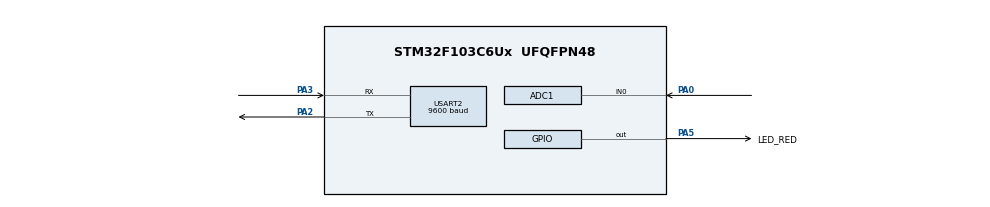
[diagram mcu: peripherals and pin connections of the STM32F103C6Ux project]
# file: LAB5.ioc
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ADC1.Channel-0\#ChannelRegularConversion=ADC_CHANNEL_0
ADC1.ContinuousConvMode=ENABLE
ADC1.NbrOfConversionFlag=1
ADC1.Rank-0\#ChannelRegularConversion=1
ADC1.SamplingTime-0\#ChannelRegularConversion=ADC_SAMPLETIME_1CYCLE_5
ADC1.master=1
Mcu.Family=STM32F1
Mcu.Name=STM32F103C6Ux
Mcu.Package=UFQFPN48
NVIC.PriorityGroup=NVIC_PRIORITYGROUP_4
NVIC.TIM2_IRQn=true\:0\:0\:false\:false\:true\:true\:true\:true
NVIC.USART2_IRQn=true\:0\:0\:false\:false\:true\:true\:true\:true
PA0-WKUP.Signal=ADCx_IN0
PA2.Mode=Asynchronous
PA2.Signal=USART2_TX
PA3.Mode=Asynchronous
PA3.Signal=USART2_RX
PA5.GPIO_Label=LED_RED
PA5.Signal=GPIO_Output
ProjectManager.HeapSize=0x200
ProjectManager.StackSize=0x400
ProjectManager.TargetToolchain=STM32CubeIDE
RCC.APB1Freq_Value=8000000
RCC.APB2Freq_Value=8000000
SH.ADCx_IN0.0=ADC1_IN0,IN0
TIM2.Period=10
TIM2.Prescaler=7999
USART2.BaudRate=9600
USART2.VirtualMode=VM_ASYNC
VP_TIM2_VS_ClockSourceINT.Mode=Internal
board=custom

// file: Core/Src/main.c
/* USER CODE BEGIN Header */
/**
  ******************************************************************************
  * @file           : main.c
  * @brief          : Main program body
  ******************************************************************************
  * @attention
  *
  * Copyright (c) 2022 STMicroelectronics.
  * All rights reserved.
  *
  * This software is licensed under terms that can be found in the LICENSE file
  * in the root directory of this software component.
  * If no LICENSE file comes with this software, it is provided AS-IS.
  *
  ******************************************************************************
  */
/* USER CODE END Header */
#include "main.h"

/* USER CODE BEGIN Includes */
#include "stdio.h"
#include "string.h"
#include "list.h"
#include "software_timer.h"
#include "global.h"
#include "command_parser_fsm.h"
#include "uart_communication_fsm.h"
/* USER CODE END Includes */

ADC_HandleTypeDef hadc1;

TIM_HandleTypeDef htim2;

UART_HandleTypeDef huart2;

void SystemClock_Config(void);
static void MX_GPIO_Init(void);
static void MX_ADC1_Init(void);
static void MX_USART2_UART_Init(void);
static void MX_TIM2_Init(void);

/* USER CODE BEGIN 0 */
uint8_t c[2];

void HAL_UART_RxCpltCallback ( UART_HandleTypeDef * huart ){
	if(huart -> Instance == USART2 ){
		HAL_UART_Transmit(&huart2 , &temp , 1, 50);
		insert(buffer_list, temp);
		buffer_flag = 1;
		HAL_UART_Receive_IT	(&huart2 , &temp , 1);
	}
}
/* USER CODE END 0 */

int main(void)
{
  /* USER CODE BEGIN 1 */
	buffer_list = (struct list*)malloc(sizeof(struct list));
  /* USER CODE END 1 */

  /* MCU Configuration--------------------------------------------------------*/

  /* Reset of all peripherals, Initializes the Flash interface and the Systick. */
  HAL_Init();

  /* Configure the system clock */
  SystemClock_Config();

  /* Initialize all configured peripherals */
  MX_GPIO_Init();
  MX_ADC1_Init();
  MX_USART2_UART_Init();
  MX_TIM2_Init();
  /* USER CODE BEGIN 2 */
  HAL_TIM_Base_Start_IT(&htim2);
  HAL_UART_Receive_IT(&huart2, &temp, 1);
  /* USER CODE END 2 */

  /* Infinite loop */
  /* USER CODE BEGIN WHILE */
  struct list* tmp = (struct list*)malloc(sizeof(struct list));
  setTimer1(1000);
  while (1)
  {
	  if (timer1_flag == 1) {
		  HAL_GPIO_TogglePin(LED_RED_GPIO_Port, LED_RED_Pin);
		  setTimer1(1000);
	  }
	  if (buffer_flag == 1) {
		  command_parser_fsm(hadc1);
//For debug
//			sprintf(c,"%d ",buffer_list->tail->state);
//			HAL_UART_Transmit(&huart2 , &c , 4, 50);
//			sprintf(c,"%c\r\n",temp);
//			HAL_UART_Transmit(&huart2 , &c , 4, 50);
		  buffer_flag = 0;
	  }
	  uart_communication_fsm(huart2);
    /* USER CODE END WHILE */

  }
}

void SystemClock_Config(void)
{
  RCC_OscInitTypeDef RCC_OscInitStruct = {0};
  RCC_ClkInitTypeDef RCC_ClkInitStruct = {0};
  RCC_PeriphCLKInitTypeDef PeriphClkInit = {0};

  /** Initializes the RCC Oscillators according to the specified parameters
  * in the RCC_OscInitTypeDef structure.
  */
  RCC_OscInitStruct.OscillatorType = RCC_OSCILLATORTYPE_HSI;
  RCC_OscInitStruct.HSIState = RCC_HSI_ON;
  RCC_OscInitStruct.HSICalibrationValue = RCC_HSICALIBRATION_DEFAULT;
  RCC_OscInitStruct.PLL.PLLState = RCC_PLL_NONE;
  if (HAL_RCC_OscConfig(&RCC_OscInitStruct) != HAL_OK)
  {
    Error_Handler();
  }

  /** Initializes the CPU, AHB and APB buses clocks
  */
  RCC_ClkInitStruct.ClockType = RCC_CLOCKTYPE_HCLK|RCC_CLOCKTYPE_SYSCLK
                              |RCC_CLOCKTYPE_PCLK1|RCC_CLOCKTYPE_PCLK2;
  RCC_ClkInitStruct.SYSCLKSource = RCC_SYSCLKSOURCE_HSI;
  RCC_ClkInitStruct.AHBCLKDivider = RCC_SYSCLK_DIV1;
  RCC_ClkInitStruct.APB1CLKDivider = RCC_HCLK_DIV1;
  RCC_ClkInitStruct.APB2CLKDivider = RCC_HCLK_DIV1;

  if (HAL_RCC_ClockConfig(&RCC_ClkInitStruct, FLASH_LATENCY_0) != HAL_OK)
  {
    Error_Handler();
  }
  PeriphClkInit.PeriphClockSelection = RCC_PERIPHCLK_ADC;
  PeriphClkInit.AdcClockSelection = RCC_ADCPCLK2_DIV2;
  if (HAL_RCCEx_PeriphCLKConfig(&PeriphClkInit) != HAL_OK)
  {
    Error_Handler();
  }
}

static void MX_ADC1_Init(void)
{

  ADC_ChannelConfTypeDef sConfig = {0};

  /** Common config
  */
  hadc1.Instance = ADC1;
  hadc1.Init.ScanConvMode = ADC_SCAN_DISABLE;
  hadc1.Init.ContinuousConvMode = ENABLE;
  hadc1.Init.DiscontinuousConvMode = DISABLE;
  hadc1.Init.ExternalTrigConv = ADC_SOFTWARE_START;
  hadc1.Init.DataAlign = ADC_DATAALIGN_RIGHT;
  hadc1.Init.NbrOfConversion = 1;
  if (HAL_ADC_Init(&hadc1) != HAL_OK)
  {
    Error_Handler();
  }

  /** Configure Regular Channel
  */
  sConfig.Channel = ADC_CHANNEL_0;
  sConfig.Rank = ADC_REGULAR_RANK_1;
  sConfig.SamplingTime = ADC_SAMPLETIME_1CYCLE_5;
  if (HAL_ADC_ConfigChannel(&hadc1, &sConfig) != HAL_OK)
  {
    Error_Handler();
  }

}

static void MX_TIM2_Init(void)
{

  TIM_ClockConfigTypeDef sClockSourceConfig = {0};
  TIM_MasterConfigTypeDef sMasterConfig = {0};

  htim2.Instance = TIM2;
  htim2.Init.Prescaler = 7999;
  htim2.Init.CounterMode = TIM_COUNTERMODE_UP;
  htim2.Init.Period = 10;
  htim2.Init.ClockDivision = TIM_CLOCKDIVISION_DIV1;
  htim2.Init.AutoReloadPreload = TIM_AUTORELOAD_PRELOAD_DISABLE;
  if (HAL_TIM_Base_Init(&htim2) != HAL_OK)
  {
    Error_Handler();
  }
  sClockSourceConfig.ClockSource = TIM_CLOCKSOURCE_INTERNAL;
  if (HAL_TIM_ConfigClockSource(&htim2, &sClockSourceConfig) != HAL_OK)
  {
    Error_Handler();
  }
  sMasterConfig.MasterOutputTrigger = TIM_TRGO_RESET;
  sMasterConfig.MasterSlaveMode = TIM_MASTERSLAVEMODE_DISABLE;
  if (HAL_TIMEx_MasterConfigSynchronization(&htim2, &sMasterConfig) != HAL_OK)
  {
    Error_Handler();
  }

}

static void MX_USART2_UART_Init(void)
{

  huart2.Instance = USART2;
  huart2.Init.BaudRate = 9600;
  huart2.Init.WordLength = UART_WORDLENGTH_8B;
  huart2.Init.StopBits = UART_STOPBITS_1;
  huart2.Init.Parity = UART_PARITY_NONE;
  huart2.Init.Mode = UART_MODE_TX_RX;
  huart2.Init.HwFlowCtl = UART_HWCONTROL_NONE;
  huart2.Init.OverSampling = UART_OVERSAMPLING_16;
  if (HAL_UART_Init(&huart2) != HAL_OK)
  {
    Error_Handler();
  }

}

static void MX_GPIO_Init(void)
{
  GPIO_InitTypeDef GPIO_InitStruct = {0};

  /* GPIO Ports Clock Enable */
  __HAL_RCC_GPIOA_CLK_ENABLE();

  /*Configure GPIO pin Output Level */
  HAL_GPIO_WritePin(LED_RED_GPIO_Port, LED_RED_Pin, GPIO_PIN_RESET);

  /*Configure GPIO pin : LED_RED_Pin */
  GPIO_InitStruct.Pin = LED_RED_Pin;
  GPIO_InitStruct.Mode = GPIO_MODE_OUTPUT_PP;
  GPIO_InitStruct.Pull = GPIO_NOPULL;
  GPIO_InitStruct.Speed = GPIO_SPEED_FREQ_LOW;
  HAL_GPIO_Init(LED_RED_GPIO_Port, &GPIO_InitStruct);

}

/* USER CODE BEGIN 4 */
void HAL_TIM_PeriodElapsedCallback(TIM_HandleTypeDef *htim) {
	timerRun();
}
/* USER CODE END 4 */

void Error_Handler(void)
{
  __disable_irq();
  while (1)
  {
  }
}
